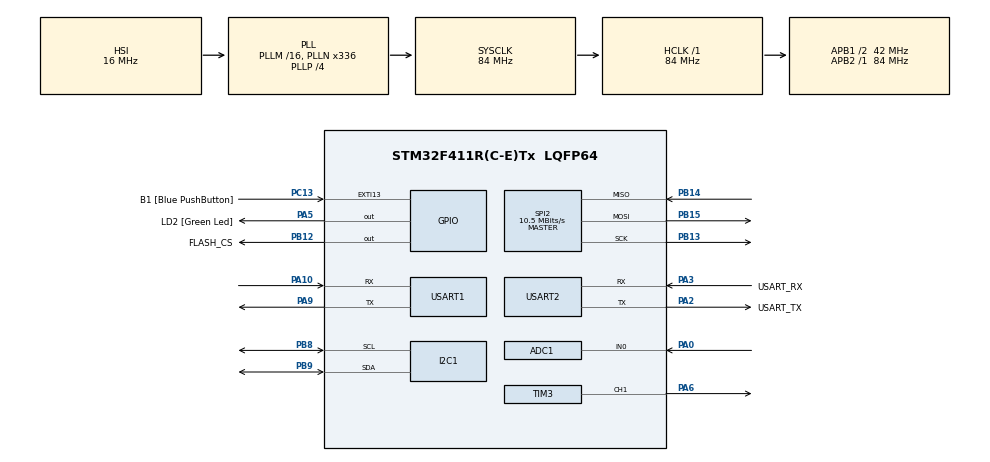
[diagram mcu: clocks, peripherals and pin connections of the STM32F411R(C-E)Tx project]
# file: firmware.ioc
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ADC1.Channel-1\#ChannelRegularConversion=ADC_CHANNEL_0
ADC1.NbrOfConversionFlag=1
ADC1.Rank-1\#ChannelRegularConversion=1
ADC1.SamplingTime-1\#ChannelRegularConversion=ADC_SAMPLETIME_3CYCLES
ADC1.master=1
Mcu.Family=STM32F4
Mcu.Name=STM32F411R(C-E)Tx
Mcu.Package=LQFP64
NVIC.PriorityGroup=NVIC_PRIORITYGROUP_0
PA0-WKUP.Signal=ADCx_IN0
PA10.Mode=Asynchronous
PA10.Signal=USART1_RX
PA13.GPIO_Label=TMS
PA13.Mode=Serial_Wire
PA13.Signal=SYS_JTMS-SWDIO
PA14.GPIO_Label=TCK
PA14.Mode=Serial_Wire
PA14.Signal=SYS_JTCK-SWCLK
PA2.GPIO_Label=USART_TX
PA2.Mode=Asynchronous
PA2.Signal=USART2_TX
PA3.GPIO_Label=USART_RX
PA3.Mode=Asynchronous
PA3.Signal=USART2_RX
PA5.GPIO_Label=LD2 [Green Led]
PA5.Signal=GPIO_Output
PA6.Signal=S_TIM3_CH1
PA9.Mode=Asynchronous
PA9.Signal=USART1_TX
PB12.GPIO_Label=FLASH_CS
PB12.Signal=GPIO_Output
PB13.Mode=Full_Duplex_Master
PB13.Signal=SPI2_SCK
PB14.Mode=Full_Duplex_Master
PB14.Signal=SPI2_MISO
PB15.Mode=Full_Duplex_Master
PB15.Signal=SPI2_MOSI
PB3.GPIO_Label=SWO
PB3.Signal=SYS_JTDO-SWO
PB8.Mode=I2C
PB8.Signal=I2C1_SCL
PB9.Mode=I2C
PB9.Signal=I2C1_SDA
PC13-ANTI_TAMP.GPIO_Label=B1 [Blue PushButton]
PC13-ANTI_TAMP.GPIO_ModeDefaultEXTI=GPIO_MODE_IT_FALLING
PC13-ANTI_TAMP.Signal=GPXTI13
PC14-OSC32_IN.Mode=LSE-External-Oscillator
PC14-OSC32_IN.Signal=RCC_OSC32_IN
PC15-OSC32_OUT.Mode=LSE-External-Oscillator
PC15-OSC32_OUT.Signal=RCC_OSC32_OUT
PH0\ -\ OSC_IN.Mode=HSE-External-Clock-Source
PH0\ -\ OSC_IN.Signal=RCC_OSC_IN
PH1\ -\ OSC_OUT.Mode=HSE-External-Clock-Source
PH1\ -\ OSC_OUT.Signal=RCC_OSC_OUT
ProjectManager.HeapSize=0x200
ProjectManager.StackSize=0x400
ProjectManager.TargetToolchain=Makefile
RCC.48MHZClocksFreq_Value=84000000
RCC.AHBFreq_Value=84000000
RCC.APB1CLKDivider=RCC_HCLK_DIV2
RCC.APB1Freq_Value=42000000
RCC.APB1TimFreq_Value=84000000
RCC.APB2Freq_Value=84000000
RCC.APB2TimFreq_Value=84000000
RCC.CortexFreq_Value=84000000
RCC.FLatency-AdvancedSettings=FLASH_LATENCY_2
RCC.HCLKFreq_Value=84000000
RCC.HSE_VALUE=8000000
RCC.HSI_VALUE=16000000
RCC.PLLN=336
RCC.PLLP=RCC_PLLP_DIV4
RCC.SYSCLKFreq_VALUE=84000000
RCC.SYSCLKSource=RCC_SYSCLKSOURCE_PLLCLK
RCC.VCOOutputFreq_Value=336000000
SH.ADCx_IN0.0=ADC1_IN0,IN0
SH.S_TIM3_CH1.0=TIM3_CH1,PWM Generation1 CH1
SPI2.BaudRatePrescaler=SPI_BAUDRATEPRESCALER_4
SPI2.CalculateBaudRate=10.5 MBits/s
SPI2.Direction=SPI_DIRECTION_2LINES
SPI2.Mode=SPI_MODE_MASTER
SPI2.VirtualType=VM_MASTER
TIM3.Channel-PWM\ Generation1\ CH1=TIM_CHANNEL_1
TIM3.Period=19999
TIM3.Prescaler=83
TIM3.Pulse-PWM\ Generation1\ CH1=1500
USART1.VirtualMode=VM_ASYNC
USART2.VirtualMode=VM_ASYNC
VP_TIM3_VS_ClockSourceINT.Mode=Internal
board=NUCLEO-F411RE

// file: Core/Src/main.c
/* USER CODE BEGIN Header */
/**
 ******************************************************************************
 * @file           : main.c
 * @brief          : Main entry point - Clean Layered Architecture (Lab 2)
 ******************************************************************************
 */
/* USER CODE END Header */
#include "main.h"
#include <stdio.h>

/* USER CODE BEGIN Includes */
#include "platform_stm32.h"
#include "perf.h"
#include "app.h"
/* USER CODE END Includes */

ADC_HandleTypeDef hadc1;
I2C_HandleTypeDef hi2c1;
SPI_HandleTypeDef hspi2;
TIM_HandleTypeDef htim3;
UART_HandleTypeDef huart1;
UART_HandleTypeDef huart2;

void SystemClock_Config(void);
static void MX_GPIO_Init(void);
static void MX_ADC1_Init(void);
static void MX_I2C1_Init(void);
static void MX_SPI2_Init(void);
static void MX_TIM3_Init(void);
static void MX_USART2_UART_Init(void);
static void MX_USART1_UART_Init(void);

/* USER CODE BEGIN 0 */
int _write(int fd, char *p, int n)
{
  (void)fd;
  /* USART2 = ST-Link VCP (основний CLI). USART1 = FT232 — короткий timeout,
   * щоб відсутній адаптер не гальмував великий dump frame. */
  HAL_UART_Transmit(&huart2, (uint8_t *)p, n, 100);
  HAL_UART_Transmit(&huart1, (uint8_t *)p, n, 5);
  return n;
}

static void I2C1_Bus_Clear(void)
{
  GPIO_InitTypeDef GPIO_InitStruct = {0};
  __HAL_RCC_GPIOB_CLK_ENABLE();

  GPIO_InitStruct.Pin = GPIO_PIN_8;
  GPIO_InitStruct.Mode = GPIO_MODE_OUTPUT_OD;
  GPIO_InitStruct.Pull = GPIO_PULLUP;
  GPIO_InitStruct.Speed = GPIO_SPEED_FREQ_HIGH;
  HAL_GPIO_Init(GPIOB, &GPIO_InitStruct);

  GPIO_InitStruct.Pin = GPIO_PIN_9;
  GPIO_InitStruct.Mode = GPIO_MODE_INPUT;
  GPIO_InitStruct.Pull = GPIO_PULLUP;
  HAL_GPIO_Init(GPIOB, &GPIO_InitStruct);

  for (int i = 0; i < 9; i++)
  {
    HAL_GPIO_WritePin(GPIOB, GPIO_PIN_8, GPIO_PIN_RESET);
    for (volatile int j = 0; j < 50; j++)
      ;
    HAL_GPIO_WritePin(GPIOB, GPIO_PIN_8, GPIO_PIN_SET);
    for (volatile int j = 0; j < 50; j++)
      ;
  }

  GPIO_InitStruct.Pin = GPIO_PIN_9;
  GPIO_InitStruct.Mode = GPIO_MODE_OUTPUT_OD;
  HAL_GPIO_Init(GPIOB, &GPIO_InitStruct);

  HAL_GPIO_WritePin(GPIOB, GPIO_PIN_9, GPIO_PIN_RESET);
  for (volatile int j = 0; j < 50; j++)
    ;
  HAL_GPIO_WritePin(GPIOB, GPIO_PIN_8, GPIO_PIN_SET);
  for (volatile int j = 0; j < 50; j++)
    ;
  HAL_GPIO_WritePin(GPIOB, GPIO_PIN_9, GPIO_PIN_SET);
  for (volatile int j = 0; j < 50; j++)
    ;
}
/* USER CODE END 0 */

int main(void)
{
  HAL_Init();
  SystemClock_Config();

  /* Stack painting якомога раніше (до важкого використання стека) */
  perf_stack_paint();
  perf_init();

  I2C1_Bus_Clear();

  // Генерація такту MCLK 16 МГц на PA8 (MCO1)
  __HAL_RCC_GPIOA_CLK_ENABLE();
  GPIO_InitTypeDef GPIO_InitStructMCO = {0};
  GPIO_InitStructMCO.Pin = GPIO_PIN_8;
  GPIO_InitStructMCO.Mode = GPIO_MODE_AF_PP;
  GPIO_InitStructMCO.Pull = GPIO_NOPULL;
  GPIO_InitStructMCO.Speed = GPIO_SPEED_FREQ_VERY_HIGH;
  GPIO_InitStructMCO.Alternate = GPIO_AF0_MCO;
  HAL_GPIO_Init(GPIOA, &GPIO_InitStructMCO);
  HAL_RCC_MCOConfig(RCC_MCO1, RCC_MCO1SOURCE_HSI, RCC_MCODIV_1);
  HAL_Delay(50);

  MX_GPIO_Init();
  MX_ADC1_Init();
  MX_I2C1_Init();
  MX_SPI2_Init();
  MX_TIM3_Init();
  MX_USART2_UART_Init();
  MX_USART1_UART_Init();

  /* USER CODE BEGIN 2 */
  // 1. Старт периферії
  HAL_TIM_PWM_Start(&htim3, TIM_CHANNEL_1);

  // 2. Ініціалізація платформних інтерфейсів
  platform_init();

  // 3. Передача керування шару додатку (App) — продукт ЛР3
  app_init(platform_get_i2c1(),
           platform_get_sccb(),
           platform_get_spi2(),
           platform_get_servo_pwm(),
           platform_get_board_io(),
           platform_get_camera_parallel(),
           platform_get_cli_uart(),
           platform_delay_ms);
  /* USER CODE END 2 */

  /* Infinite loop */
  /* USER CODE BEGIN WHILE */
  while (1)
  {
    app_run_step(HAL_GetTick());
  }
  /* USER CODE END WHILE */
}

void SystemClock_Config(void)
{
  RCC_OscInitTypeDef RCC_OscInitStruct = {0};
  RCC_ClkInitTypeDef RCC_ClkInitStruct = {0};

  __HAL_RCC_PWR_CLK_ENABLE();
  __HAL_PWR_VOLTAGESCALING_CONFIG(PWR_REGULATOR_VOLTAGE_SCALE1);

  RCC_OscInitStruct.OscillatorType = RCC_OSCILLATORTYPE_HSI;
  RCC_OscInitStruct.HSIState = RCC_HSI_ON;
  RCC_OscInitStruct.HSICalibrationValue = RCC_HSICALIBRATION_DEFAULT;
  RCC_OscInitStruct.PLL.PLLState = RCC_PLL_ON;
  RCC_OscInitStruct.PLL.PLLSource = RCC_PLLSOURCE_HSI;
  RCC_OscInitStruct.PLL.PLLM = 16;
  RCC_OscInitStruct.PLL.PLLN = 336;
  RCC_OscInitStruct.PLL.PLLP = RCC_PLLP_DIV4;
  RCC_OscInitStruct.PLL.PLLQ = 4;
  if (HAL_RCC_OscConfig(&RCC_OscInitStruct) != HAL_OK)
  {
    Error_Handler();
  }

  RCC_ClkInitStruct.ClockType = RCC_CLOCKTYPE_HCLK | RCC_CLOCKTYPE_SYSCLK | RCC_CLOCKTYPE_PCLK1 | RCC_CLOCKTYPE_PCLK2;
  RCC_ClkInitStruct.SYSCLKSource = RCC_SYSCLKSOURCE_PLLCLK;
  RCC_ClkInitStruct.AHBCLKDivider = RCC_SYSCLK_DIV1;
  RCC_ClkInitStruct.APB1CLKDivider = RCC_HCLK_DIV2;
  RCC_ClkInitStruct.APB2CLKDivider = RCC_HCLK_DIV1;

  if (HAL_RCC_ClockConfig(&RCC_ClkInitStruct, FLASH_LATENCY_2) != HAL_OK)
  {
    Error_Handler();
  }
}

static void MX_ADC1_Init(void)
{
  ADC_ChannelConfTypeDef sConfig = {0};
  hadc1.Instance = ADC1;
  hadc1.Init.ClockPrescaler = ADC_CLOCK_SYNC_PCLK_DIV4;
  hadc1.Init.Resolution = ADC_RESOLUTION_12B;
  hadc1.Init.ScanConvMode = DISABLE;
  hadc1.Init.ContinuousConvMode = DISABLE;
  hadc1.Init.DiscontinuousConvMode = DISABLE;
  hadc1.Init.ExternalTrigConvEdge = ADC_EXTERNALTRIGCONVEDGE_NONE;
  hadc1.Init.ExternalTrigConv = ADC_SOFTWARE_START;
  hadc1.Init.DataAlign = ADC_DATAALIGN_RIGHT;
  hadc1.Init.NbrOfConversion = 1;
  hadc1.Init.DMAContinuousRequests = DISABLE;
  hadc1.Init.EOCSelection = ADC_EOC_SINGLE_CONV;
  if (HAL_ADC_Init(&hadc1) != HAL_OK)
  {
    Error_Handler();
  }
  sConfig.Channel = ADC_CHANNEL_0;
  sConfig.Rank = 1;
  sConfig.SamplingTime = ADC_SAMPLETIME_3CYCLES;
  if (HAL_ADC_ConfigChannel(&hadc1, &sConfig) != HAL_OK)
  {
    Error_Handler();
  }
}

static void MX_I2C1_Init(void)
{
  hi2c1.Instance = I2C1;
  hi2c1.Init.ClockSpeed = 100000;
  hi2c1.Init.DutyCycle = I2C_DUTYCYCLE_2;
  hi2c1.Init.OwnAddress1 = 0;
  hi2c1.Init.AddressingMode = I2C_ADDRESSINGMODE_7BIT;
  hi2c1.Init.DualAddressMode = I2C_DUALADDRESS_DISABLE;
  hi2c1.Init.OwnAddress2 = 0;
  hi2c1.Init.GeneralCallMode = I2C_GENERALCALL_DISABLE;
  hi2c1.Init.NoStretchMode = I2C_NOSTRETCH_DISABLE;
  if (HAL_I2C_Init(&hi2c1) != HAL_OK)
  {
    Error_Handler();
  }
}

static void MX_SPI2_Init(void)
{
  hspi2.Instance = SPI2;
  hspi2.Init.Mode = SPI_MODE_MASTER;
  hspi2.Init.Direction = SPI_DIRECTION_2LINES;
  hspi2.Init.DataSize = SPI_DATASIZE_8BIT;
  hspi2.Init.CLKPolarity = SPI_POLARITY_LOW;
  hspi2.Init.CLKPhase = SPI_PHASE_1EDGE;
  hspi2.Init.NSS = SPI_NSS_SOFT;
  hspi2.Init.BaudRatePrescaler = SPI_BAUDRATEPRESCALER_4;
  hspi2.Init.FirstBit = SPI_FIRSTBIT_MSB;
  hspi2.Init.TIMode = SPI_TIMODE_DISABLE;
  hspi2.Init.CRCCalculation = SPI_CRCCALCULATION_DISABLE;
  hspi2.Init.CRCPolynomial = 10;
  if (HAL_SPI_Init(&hspi2) != HAL_OK)
  {
    Error_Handler();
  }
}

static void MX_TIM3_Init(void)
{
  TIM_ClockConfigTypeDef sClockSourceConfig = {0};
  TIM_MasterConfigTypeDef sMasterConfig = {0};
  TIM_OC_InitTypeDef sConfigOC = {0};

  htim3.Instance = TIM3;
  htim3.Init.Prescaler = 83;
  htim3.Init.CounterMode = TIM_COUNTERMODE_UP;
  htim3.Init.Period = 19999;
  htim3.Init.ClockDivision = TIM_CLOCKDIVISION_DIV1;
  htim3.Init.AutoReloadPreload = TIM_AUTORELOAD_PRELOAD_DISABLE;
  if (HAL_TIM_Base_Init(&htim3) != HAL_OK)
  {
    Error_Handler();
  }
  sClockSourceConfig.ClockSource = TIM_CLOCKSOURCE_INTERNAL;
  if (HAL_TIM_ConfigClockSource(&htim3, &sClockSourceConfig) != HAL_OK)
  {
    Error_Handler();
  }
  if (HAL_TIM_PWM_Init(&htim3) != HAL_OK)
  {
    Error_Handler();
  }
  sMasterConfig.MasterOutputTrigger = TIM_TRGO_RESET;
  sMasterConfig.MasterSlaveMode = TIM_MASTERSLAVEMODE_DISABLE;
  if (HAL_TIMEx_MasterConfigSynchronization(&htim3, &sMasterConfig) != HAL_OK)
  {
    Error_Handler();
  }
  sConfigOC.OCMode = TIM_OCMODE_PWM1;
  sConfigOC.Pulse = 1500;
  sConfigOC.OCPolarity = TIM_OCPOLARITY_HIGH;
  sConfigOC.OCFastMode = TIM_OCFAST_DISABLE;
  if (HAL_TIM_PWM_ConfigChannel(&htim3, &sConfigOC, TIM_CHANNEL_1) != HAL_OK)
  {
    Error_Handler();
  }
  HAL_TIM_MspPostInit(&htim3);
}

static void MX_USART1_UART_Init(void)
{
  huart1.Instance = USART1;
  huart1.Init.BaudRate = 115200;
  huart1.Init.WordLength = UART_WORDLENGTH_8B;
  huart1.Init.StopBits = UART_STOPBITS_1;
  huart1.Init.Parity = UART_PARITY_NONE;
  huart1.Init.Mode = UART_MODE_TX_RX;
  huart1.Init.HwFlowCtl = UART_HWCONTROL_NONE;
  huart1.Init.OverSampling = UART_OVERSAMPLING_16;
  if (HAL_UART_Init(&huart1) != HAL_OK)
  {
    Error_Handler();
  }
}

static void MX_USART2_UART_Init(void)
{
  huart2.Instance = USART2;
  huart2.Init.BaudRate = 115200;
  huart2.Init.WordLength = UART_WORDLENGTH_8B;
  huart2.Init.StopBits = UART_STOPBITS_1;
  huart2.Init.Parity = UART_PARITY_NONE;
  huart2.Init.Mode = UART_MODE_TX_RX;
  huart2.Init.HwFlowCtl = UART_HWCONTROL_NONE;
  huart2.Init.OverSampling = UART_OVERSAMPLING_16;
  if (HAL_UART_Init(&huart2) != HAL_OK)
  {
    Error_Handler();
  }
}

static void MX_GPIO_Init(void)
{
  GPIO_InitTypeDef GPIO_InitStruct = {0};

  __HAL_RCC_GPIOC_CLK_ENABLE();
  __HAL_RCC_GPIOH_CLK_ENABLE();
  __HAL_RCC_GPIOA_CLK_ENABLE();
  __HAL_RCC_GPIOB_CLK_ENABLE();

  HAL_GPIO_WritePin(LD2_GPIO_Port, LD2_Pin, GPIO_PIN_RESET);
  /* CS flash має бути HIGH (деселект) з самого старту, інакше W25Q ловить шум на SPI */
  HAL_GPIO_WritePin(FLASH_CS_GPIO_Port, FLASH_CS_Pin, GPIO_PIN_SET);

  GPIO_InitStruct.Pin = B1_Pin;
  GPIO_InitStruct.Mode = GPIO_MODE_IT_FALLING;
  GPIO_InitStruct.Pull = GPIO_NOPULL;
  HAL_GPIO_Init(B1_GPIO_Port, &GPIO_InitStruct);

  GPIO_InitStruct.Pin = LD2_Pin;
  GPIO_InitStruct.Mode = GPIO_MODE_OUTPUT_PP;
  GPIO_InitStruct.Pull = GPIO_NOPULL;
  GPIO_InitStruct.Speed = GPIO_SPEED_FREQ_LOW;
  HAL_GPIO_Init(LD2_GPIO_Port, &GPIO_InitStruct);

  GPIO_InitStruct.Pin = FLASH_CS_Pin;
  GPIO_InitStruct.Mode = GPIO_MODE_OUTPUT_PP;
  GPIO_InitStruct.Pull = GPIO_NOPULL;
  GPIO_InitStruct.Speed = GPIO_SPEED_FREQ_LOW;
  HAL_GPIO_Init(FLASH_CS_GPIO_Port, &GPIO_InitStruct);
}

void Error_Handler(void)
{
  __disable_irq();
  while (1)
  {
  }
}
